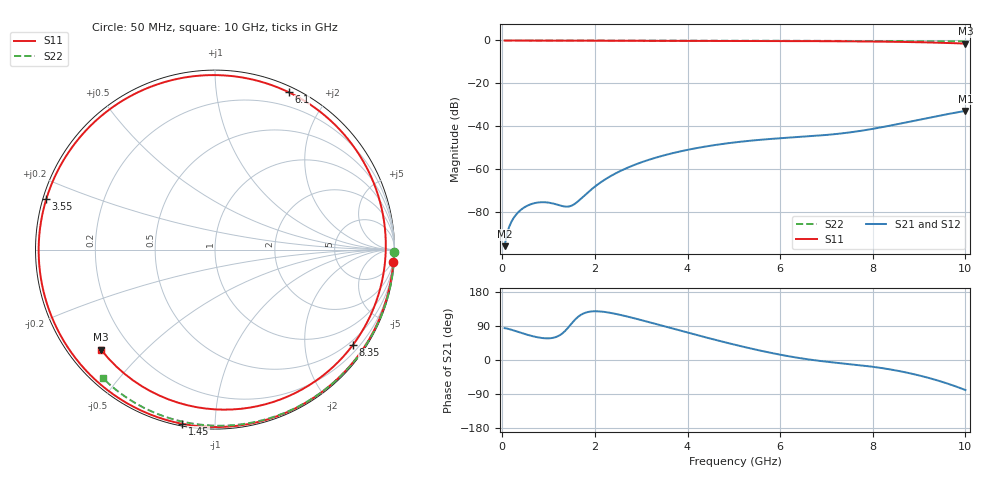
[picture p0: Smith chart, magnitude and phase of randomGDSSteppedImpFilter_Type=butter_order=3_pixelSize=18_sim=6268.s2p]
! freq	dB(S11)	phase(S11)	dB(S12)	phase(S12)
!  dB(S21)	phase(S21)	dB(S22)	phase(S22)
!S-par simulation data
#  GHz  S  DB  R 50
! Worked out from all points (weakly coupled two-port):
!   200 points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, 50 MHz to 10 GHz, reference 50 ohm
!   highest |S21| = -32.87 dB at 10 GHz (marker M1); lowest = -96.0 dB at 50 MHz (marker M2)
!   lowest |S11| = -1.5 dB at 10 GHz (marker M3), VSWR 11.90, Z = 4.8 - j18.7 ohm
!   |S11| at or under -10 dB: nowhere
!   |S22| runs from -0.4 to 0.0 dB; largest |S21 - S12| = 0
!   S11 on the Smith chart (normalised r, x): 50 MHz: 1, -29; 1.45 GHz: 0.01, -0.83; 3.55 GHz: 0.01, +0.15; 6.1 GHz: 0.06, +1.57; 8.35 GHz: 0.38, -3.15; 10 GHz: 0.10, -0.37
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0.05  -0.03 -4.0  -95.96 84.0  -95.96 84.0  -0.00 -0.7
0.35  -0.05 -26.8  -80.01 73.8  -80.01 73.8  -0.01 -5.3
0.75  -0.07 -55.9  -75.67 60.2  -75.67 60.2  -0.01 -11.3
1.1  -0.09 -79.3  -76.08 58.6  -76.08 58.6  -0.02 -16.5
1.45  -0.11 -100.6  -77.40 89.5  -77.40 89.5  -0.03 -21.7
1.75  -0.12 -117.2  -72.81 122.6  -72.81 122.6  -0.03 -26.2
2.15  -0.13 -137.3  -65.82 127.7  -65.82 127.7  -0.04 -32.0
2.55  -0.14 -155.7  -60.89 119.0  -60.89 119.0  -0.05 -37.8
3.4  -0.16 169.3  -54.14 92.3  -54.14 92.3  -0.07 -49.8
3.55  -0.16 163.4  -53.27 87.3  -53.27 87.3  -0.07 -51.9
4.35  -0.19 132.9  -49.62 61.1  -49.62 61.1  -0.09 -62.8
5.05  -0.22 106.3  -47.48 39.4  -47.48 39.4  -0.11 -72.1
5.6  -0.25 84.9  -46.28 24.0  -46.28 24.0  -0.13 -79.2
6.1  -0.28 64.8  -45.46 11.8  -45.46 11.8  -0.15 -85.5
6.7  -0.32 39.9  -44.59 0.1  -44.59 0.1  -0.18 -93.0
7.55  -0.42 2.8  -42.76 -11.6  -42.76 -11.6  -0.23 -103.2
7.95  -0.50 -15.6  -41.43 -17.1  -41.43 -17.1  -0.26 -107.9
8.35  -0.59 -34.8  -39.84 -24.3  -39.84 -24.3  -0.29 -112.5
8.85  -0.77 -60.7  -37.67 -36.4  -37.67 -36.4  -0.33 -118.3
9.3  -0.98 -87.0  -35.70 -50.4  -35.70 -50.4  -0.37 -123.4
9.65  -1.20 -110.7  -34.22 -63.7  -34.22 -63.7  -0.41 -127.3
10  -1.46 -138.7  -32.87 -79.3  -32.87 -79.3  -0.44 -131.3
